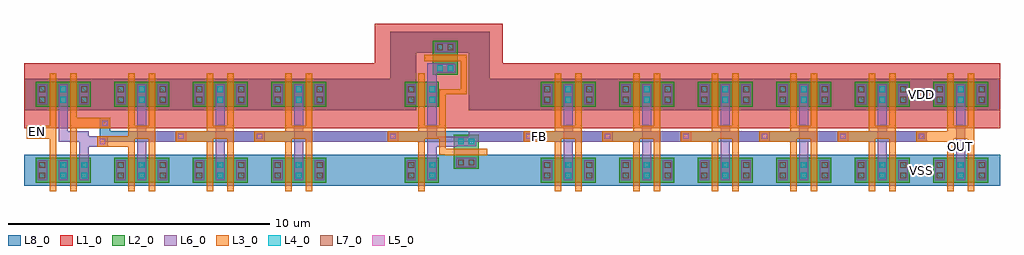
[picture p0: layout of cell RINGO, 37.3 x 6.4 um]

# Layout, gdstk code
from math import pi, radians
import gdstk
lib = gdstk.Library(unit=1e-6, precision=1e-09)
def R(c, l, rs):  # rectangles x0, y0, x1, y1
    for r in rs: c.add(gdstk.rectangle(r[:2], r[2:], *l))
def A(c, l, x, y, w, h, nx, ny, dx, dy):  # array of equal rectangles
    R(c, l, [(x+i*dx, y+j*dy, x+i*dx+w, y+j*dy+h) for i in range(nx) for j in range(ny)])
def P(c, l, *ps):  # polygons
    for p in ps: c.add(gdstk.Polygon(p, *l))
L1_0 = (1, 0)
L2_0 = (2, 0)
L3_0 = (3, 0)
L4_0 = (4, 0)
L5_0 = (5, 0)
L6_0 = (6, 0)
L7_0 = (7, 0)
L8_0 = (8, 0)

trans = lib.new_cell('TRANS')
R(trans, L2_0, [(-0.65,-0.475,0.65,0.475)])
R(trans, L4_0, [(-0.51,-0.31,-0.29,-0.09), (0.29,-0.31,0.51,-0.09), (-0.51,0.09,-0.29,0.31), (0.29,0.09,0.51,0.31)])
R(trans, L6_0, [(-0.58,-0.38,-0.22,0.38), (0.22,-0.38,0.58,0.38)])
trans.add(gdstk.FlexPath([(0,-0.8),(0,0.8)], 0.25, ends="flush", simple_path=True, layer=3, datatype=0))  # L3_0

inv2x = lib.new_cell('INV2X')
R(inv2x, L1_0, [(-1.1,1.6,1.9,4.1)])
R(inv2x, L3_0, [(-0.125,0.7,0.125,2.2), (0.675,0.7,0.925,2.2), (0,1.2,0.8,1.7)])
R(inv2x, L6_0, [(0.22,0.3,0.58,2.6)])
R(inv2x, L7_0, [(-0.51,-0.31,-0.29,-0.09), (1.09,-0.31,1.31,-0.09), (-0.51,0.09,-0.29,0.31), (1.09,0.09,1.31,0.31), (-0.51,2.59,-0.29,2.81), (1.09,2.59,1.31,2.81), (-0.51,2.99,-0.29,3.21), (1.09,2.99,1.31,3.21)])
R(inv2x, L8_0, [(-1.1,-0.6,1.9,0.6), (-1.1,2.3,1.9,3.5)])
inv2x.add(gdstk.Reference(trans, (0,0)))
inv2x.add(gdstk.Reference(trans, (0.8,0)))
inv2x.add(gdstk.Reference(trans, (0,2.9)))
inv2x.add(gdstk.Reference(trans, (0.8,2.9)))

nand1x = lib.new_cell('NAND1X')
R(nand1x, L1_0, [(-1.1,1.6,1.9,4.1)])
R(nand1x, L3_0, [(-0.125,0.7,0.125,2.2), (0.675,0.7,0.925,2.2)])
R(nand1x, L6_0, [(1.02,0,1.38,1.5), (0.22,1.1,0.58,2.6), (0.22,1.1,1.38,1.5)])
R(nand1x, L7_0, [(-0.51,-0.31,-0.29,-0.09), (-0.51,0.09,-0.29,0.31), (-0.51,2.59,-0.29,2.81), (1.09,2.59,1.31,2.81), (-0.51,2.99,-0.29,3.21), (1.09,2.99,1.31,3.21)])
R(nand1x, L8_0, [(-1.1,-0.6,1.9,0.6), (-1.1,2.3,1.9,3.5)])
nand1x.add(gdstk.Reference(trans, (0,0)))
nand1x.add(gdstk.Reference(trans, (0.8,0)))
nand1x.add(gdstk.Reference(trans, (0,2.9)))
nand1x.add(gdstk.Reference(trans, (0.8,2.9)))

inv2alt = lib.new_cell('INV2ALT')
P(inv2alt, L1_0, [(-4.3,1.6),(-4.3,4.1),(-1.8,4.1),(-1.8,5.6),(3.1,5.6),(3.1,4.1),(4.7,4.1),(4.7,1.6)])
R(inv2alt, L3_0, [(-0.125,0.7,0.125,2.2), (0,1.2,0.8,1.7)])
P(inv2alt, L3_0, [(0.675,0.6),(0.675,3.1),(1.5,3.1),(1.5,4.4),(1.725,4.4),(1.725,2.9),(0.925,2.9),(0.925,0.6)])
R(inv2alt, L6_0, [(0.22,0.3,0.58,4.1), (0.4,0.9,1.32,1.28)])
R(inv2alt, L7_0, [(-0.51,-0.31,-0.29,-0.09), (-0.51,0.09,-0.29,0.31), (1.39,0.19,1.61,0.41), (1.79,0.19,2.01,0.41), (-0.51,2.59,-0.29,2.81), (-0.51,2.99,-0.29,3.21), (0.59,4.59,0.81,4.81), (0.99,4.59,1.21,4.81)])
R(inv2alt, L8_0, [(-4.3,-0.6,4.7,0.6)])
P(inv2alt, L8_0, [(-4.3,2.3),(-4.3,3.5),(-1.2,3.5),(-1.2,5.3),(2.6,5.3),(2.6,3.5),(4.7,3.5),(4.7,2.3),(1.8,2.3),(1.8,4.5),(-0.2,4.5),(-0.2,2.3)])
inv2alt.add(gdstk.Reference(trans, (0,0)))
inv2alt.add(gdstk.Reference(trans, (1.7,0.7), rotation=3*pi/2))
inv2alt.add(gdstk.Reference(trans, (0,2.9)))
inv2alt.add(gdstk.Reference(trans, (0.9,4.3), rotation=pi/2))

ringo = lib.new_cell('RINGO')
A(ringo, L3_0, 15, 1.1, 1.3, 0.4, 6, 1, 3, 0)
R(ringo, L3_0, [(-1.3,0.9,0,1.3), (1.7,1.1,3,1.5), (4.7,1.1,6,1.5), (9.8,1.1,11.1,1.5), (-4,1.2,-3.125,1.7), (-2.075,1.6,-0.8,2)])
A(ringo, L5_0, 15.1, 1.2, 0.2, 0.2, 6, 1, 3, 0)
R(ringo, L5_0, [(-1.2,1,-1,1.2), (1.8,1.2,2,1.4), (4.8,1.2,5,1.4), (9.9,1.2,10.1,1.4), (-1.1,1.7,-0.9,1.9)])
A(ringo, L6_0, 16.8, 1.1, 1.6, 0.4, 5, 1, 3, 0)
R(ringo, L6_0, [(-1.8,0.9,-0.9,1.3), (0.5,1.1,2.1,1.5), (3.5,1.1,5.1,1.5), (6.5,1.1,10.2,1.5), (12.9,1.1,15.4,1.5), (-1.2,1.6,-0.8,2)])
R(ringo, L7_0, [(30.1,1.2,30.3,1.4), (-1.1,1.7,-0.9,1.9)])
R(ringo, L8_0, [(-1.2,1.1,30.4,1.5), (-1.2,1.1,-0.8,2)])
ringo.add(gdstk.Reference(inv2x, (0,0)))
ringo.add(gdstk.Reference(inv2x, (3,0)))
ringo.add(gdstk.Reference(inv2x, (6,0)))
ringo.add(gdstk.Reference(inv2x, (16.3,0)))
ringo.add(gdstk.Reference(inv2x, (19.3,0)))
ringo.add(gdstk.Reference(inv2x, (22.3,0)))
ringo.add(gdstk.Reference(inv2x, (25.3,0)))
ringo.add(gdstk.Reference(inv2x, (28.3,0)))
ringo.add(gdstk.Reference(nand1x, (-3,0)))
ringo.add(gdstk.Reference(inv2x, (31.3,0)))
ringo.add(gdstk.Reference(inv2alt, (11.1,0)))
ringo.add(gdstk.Label('EN', (-3.6,1.5), layer=3, texttype=1))
ringo.add(gdstk.Label('OUT', (31.7,0.9), layer=6, texttype=1))
ringo.add(gdstk.Label('VDD', (30.2,2.9), layer=8, texttype=1))
ringo.add(gdstk.Label('VSS', (30.2,0), layer=8, texttype=1))
ringo.add(gdstk.Label('FB', (15.6,1.3), layer=8, texttype=1))

lib.write_gds('RINGO.gds')
